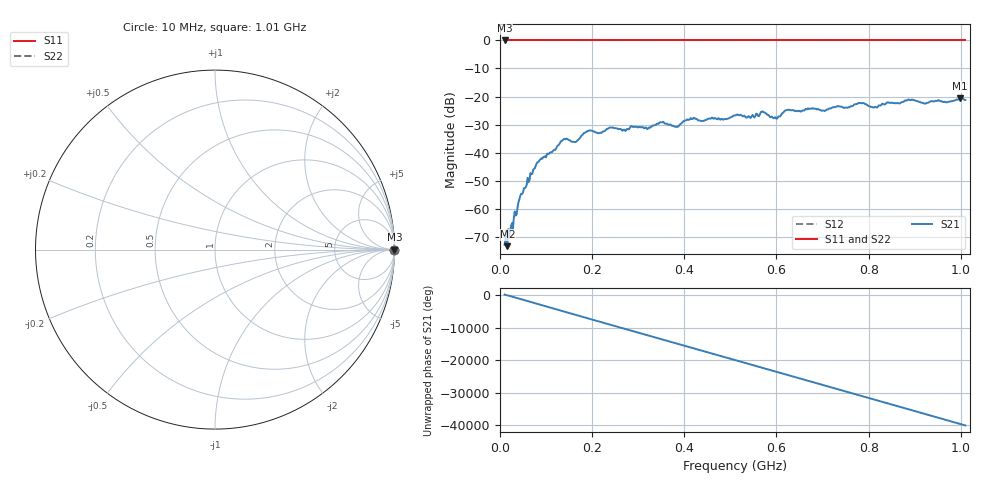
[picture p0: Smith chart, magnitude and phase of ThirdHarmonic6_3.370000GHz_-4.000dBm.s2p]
! 8/17/2025 10:41:05 AM
! C:\ANRITSUVNA\TEMP\TEMP.S2P
! CHANNEL.1
! TR.MEASUREMENT
! RAW.DATA
! RF.CORRECTION.OFF
! AVERAGING.OFF
! IF.BANDWIDTH: 5KHZ
! SWEEPTYPE:  FREQ.SWEEP(Linear)
! Reference Plane Port Info
! PORT:  PORT1  PORT2
! DISTANCE:  0  m  0  m
! TIME:  0  s  0  s
! PHASE.OFFSET:  0  deg.  0  deg.
! LOSS:  0  dB  0  dB
! REF.LOSS:  0  dB  0  dB
! REF.FREQ:  0  Hz  0  Hz
! Power Info
! POWER:  -20  dBm  -20  dBm
! EFF.POWER:  -20  dBm  -20  dBm
! SOURCE.ATTEN:  0  dB  0  dB
! TEST.ATTEN:  0  dB  0  dB
# GHZ S RI R 50.0
! FREQ.GHZ  S11RE  S11IM  S21RE  S21IM  S12RE  S12IM  S22RE  S22IM
!; PortSelection: Port_12
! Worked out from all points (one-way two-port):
!   501 points, 10 MHz to 1.01 GHz, reference 50 ohm
!   highest |S21| = -20.59 dB at 998 MHz (marker M1); lowest = -73.4 dB at 16 MHz (marker M2)
!   lowest |S11| = 0.0 dB at 10 MHz (marker M3)
!   |S11| at or under -10 dB: nowhere
!   |S22| runs from 0.0 to 0.0 dB; largest |S21 - S12| = 1.1
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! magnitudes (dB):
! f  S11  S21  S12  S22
! 10 MHz  0.0  -72.9  0.0  0.0
! 16 MHz  0.0  -73.4  0.0  0.0
! 24 MHz  0.0  -66.4  0.0  0.0
! 44 MHz  0.0  -55.4  0.0  0.0
! 82 MHz  0.0  -43.5  0.0  0.0
! 136 MHz  0.0  -35.5  0.0  0.0
! 162 MHz  0.0  -36.2  0.0  0.0
! 178 MHz  0.0  -33.8  0.0  0.0
! 194 MHz  0.0  -32.1  0.0  0.0
! 344 MHz  0.0  -29.7  0.0  0.0
! 384 MHz  0.0  -30.6  0.0  0.0
! 418 MHz  0.0  -28.0  0.0  0.0
! 510 MHz  0.0  -26.7  0.0  0.0
! 570 MHz  0.0  -25.3  0.0  0.0
! 598 MHz  0.0  -27.4  0.0  0.0
! 622 MHz  0.0  -24.8  0.0  0.0
! 678 MHz  0.0  -24.2  0.0  0.0
! 782 MHz  0.0  -22.3  0.0  0.0
! 814 MHz  0.0  -23.7  0.0  0.0
! 844 MHz  0.0  -22.2  0.0  0.0
! 998 MHz  0.0  -20.6  0.0  0.0
! 1.01 GHz  0.0  -21.2  0.0  0.0
